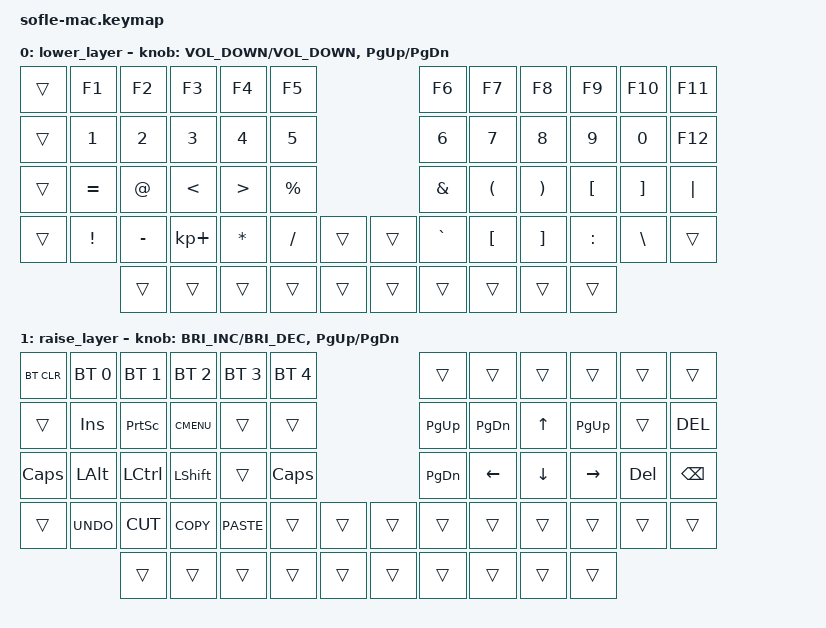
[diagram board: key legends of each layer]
/*
 * Copyright (c) 2020 The ZMK Contributors
 *
 * SPDX-License-Identifier: MIT
 */

#include <behaviors.dtsi>
#include <dt-bindings/zmk/keys.h>
#include <dt-bindings/zmk/bt.h>

/ {
    keymap {
        compatible = "zmk,keymap";

        default_layer {
&kp ESC     &kp N1 &kp N2   &kp N3   &kp N4    &kp N5                                   &kp N6    &kp N7    &kp N8    &kp N9   &kp N0   &kp SLASH
&kp TAB     &kp Q  &kp W    &kp E    &kp R     &kp T                                    &kp Y     &kp U     &kp I     &kp O    &kp P    &kp BSPC
&kp LSHFT   &kp A  &kp S    &kp D    &kp F     &kp G                                    &kp H     &kp J     &kp K     &kp L    &kp SEMI &kp SINGLE_QUOTE
&kp BACKSLASH   &kp Z  &kp X    &kp C    &kp V     &kp B   &kp C_MUTE       &kp K_MUTE2 &kp N     &kp M     &kp COMMA &kp DOT  &kp MINUS &kp EQUAL
                   &kp LCTRL &kp LALT &kp LGUI &kp RET &mo 1                &mo 2       &kp SPACE &kp RGUI &kp RALT  &kp RCTRL
            >;

            sensor-bindings = <&inc_dec_kp C_VOLUME_UP C_VOLUME_DOWN &inc_dec_kp PG_UP PG_DN>;
        };

        lower_layer {
// TODO: Some binds are waiting for shifted keycode support.
// US
// ------------------------------------------------------------------------------------------------------------
// |       |  F1 |  F2 |  F3  |  F4  |  F5  |                   |  F6  |  F7   |  F8   |  F9  |  F10  |  F11  |
// | `     |   1 |   2 |   3  |   4  |   5  |                   |   6  |   7   |   8   |   9  |    0  |  F12  |
// |       |  !  |  @  |  #   |  $   |  %   |                   |  ^   |  &    |  *    |  (   |   )   |   |   |
// |       |  =  |  -  |  +   |  {   |  }   |        |  |       |  [   |  ]    |  ;    |  :   |   \   |       |
//               |     |      |      |      |        |  |       |      |       |       |      |

// ES
// ------------------------------------------------------------------------------------------------------------
// |       |  F1 |  F2 |  F3  |  F4  |  F5  |                   |  F6  |  F7   |  F8   |  F9  |  F10  |  F11  |
// | `     |   1 |   2 |   3  |   4  |   5  |                   |   6  |   7   |   8   |   9  |    0  |  F12  |
// |       |   ! |  "  |  <   |  >   |  %   |                   |   &  |   (   |  )    |  )   |   =   |   Ç   |
// |       |  ¡  |  '  |  +   |  ^   |  *   |        |  |       |   `  |   +   |  ñ    |  Ñ   |   Ñ   |       |
//               |     |      |      |      |        |  |       |      |       |       |      |
      

            bindings = <
&trans    &kp F1    &kp F2    &kp F3      &kp F4    &kp F5                                     &kp F6    &kp F7   &kp F8   &kp F9    &kp F10   &kp F11
&trans    &kp N1    &kp N2    &kp N3      &kp N4    &kp N5                                     &kp N6    &kp N7   &kp N8   &kp N9    &kp N0    &kp F12
&trans    &kp EQUAL &kp AT    &kp LT      &kp GT    &kp PRCNT                                  &kp AMPS  &kp LPAR &kp RPAR &kp LBKT  &kp RBKT  &kp PIPE
&trans &kp EXCLAMATION &kp MINUS &kp KP_PLUS &kp ASTERISK  &kp SLASH  &trans         &trans    &kp GRAVE &kp LBKT &kp RBKT &kp COLON &kp BSLH  &trans
                    &trans    &trans      &trans    &trans            &trans         &trans    &trans    &trans   &trans    &trans
            >;

            sensor-bindings = <&inc_dec_kp C_VOLUME_DOWN C_VOLUME_DOWN &inc_dec_kp PG_UP PG_DN>;
        };

        raise_layer {
// ------------------------------------------------------------------------------------------------------------
// |BTCLR| BT1  | BT2  |  BT3  |  BT4  |  BT5 |                |      |      |       |      |       |       |
// |     | INS  | PSCR | GUI   |       |      |                | PGUP |      |   ^   |      |       |       |
// |     | ALT  | CTRL | SHIFT |       | CAPS |                | PGDN |   <- |   v   |  ->  |  DEL  | BKSPC |
// |     | UNDO | CUT  | COPY  | PASTE |      |      |  |      |      |      |       |      |       |       |
//              |      |       |       |      |      |  |      |      |      |       |      |
            bindings = <
&bt BT_CLR &bt BT_SEL 0 &bt BT_SEL 1 &bt BT_SEL 2 &bt BT_SEL 3 &bt BT_SEL 4             &trans    &trans    &trans   &trans    &trans  &trans
&trans     &kp INS      &kp PSCRN    &kp K_CMENU  &trans       &trans                   &kp PG_UP &kp PG_DN    &kp UP   &kp PG_UP  &trans  &DEL
&kp CLCK   &kp LALT     &kp LCTRL    &kp LSHFT    &trans       &kp CLCK                 &kp PG_DN &kp LEFT  &kp DOWN &kp RIGHT &kp DEL &kp BSPC
&trans     &kp K_UNDO   &kp K_CUT    &kp K_COPY   &kp K_PASTE  &trans  &trans   &trans  &trans    &trans    &trans   &trans    &trans  &trans
                        &trans       &trans       &trans       &trans  &trans   &trans  &trans    &trans    &trans   &trans
            >;

            sensor-bindings = <&inc_dec_kp C_BRIGHTNESS_INC C_BRIGHTNESS_DEC &inc_dec_kp PAGE_UP PAGE_DOWN>;
        };
    };
};
